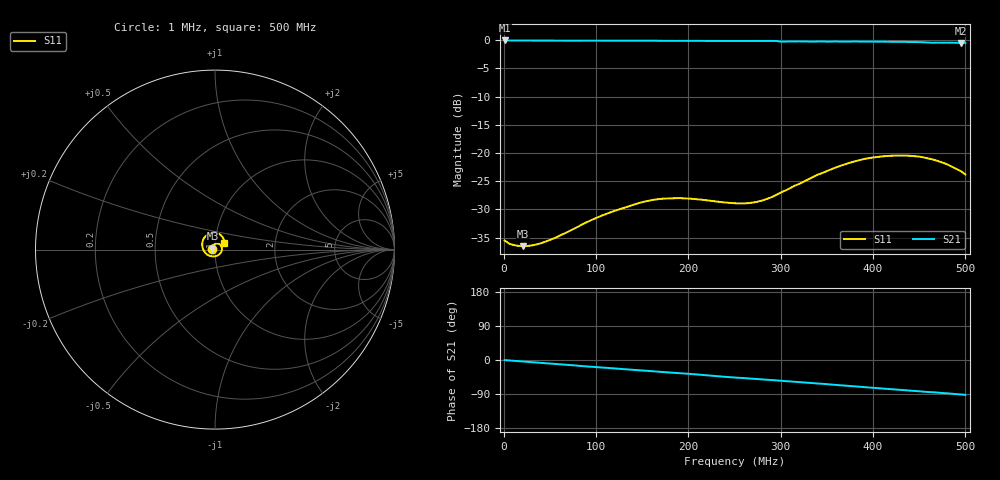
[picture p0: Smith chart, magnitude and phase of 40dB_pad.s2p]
# HZ S RI R 50
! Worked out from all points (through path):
!   101 points, 1 MHz to 500 MHz, reference 50 ohm
!   highest |S21| = -0.08 dB at 1 MHz (marker M1); lowest = -0.5 dB at 495 MHz (marker M2)
!   group delay of S21, straight-line fit = 508 ps
!   lowest |S11| = -36.5 dB at 20.96 MHz (marker M3), VSWR 1.03, Z = 48.6 + j0.522 ohm
!   |S11| at or under -10 dB: start of sweep to end of sweep
!   S12 and S22 are empty: the file has one direction only
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1000000  -0.0168 0.00086  0.9908 -0.00352  0 0  0 0
5990000  -0.0156 0.00251  0.9902 -0.0199  0 0  0 0
2.096e7  -0.014 0.00536  0.9873 -0.0684  0 0  0 0
3.094e7  -0.0135 0.00703  0.984 -0.1003  0 0  0 0
4.591e7  -0.0132 0.00992  0.9776 -0.1482  0 0  0 0
8.583e7  -0.0102 0.0212  0.9482 -0.2756  0 0  0 0
1.2575e8  0.00267 0.0317  0.9054 -0.3904  0 0  0 0
1.507e8  0.0164 0.033  0.8725 -0.46  0 0  0 0
1.7066e8  0.0271 0.0285  0.8398 -0.5126  0 0  0 0
2.006e8  0.0378 0.0114  0.7893 -0.5853  0 0  0 0
2.505e8  0.0246 -0.0262  0.677 -0.7094  0 0  0 0
2.6547e8  0.0117 -0.0341  0.6476 -0.7361  0 0  0 0
2.8044e8  -0.00418 -0.0378  0.6139 -0.7651  0 0  0 0
3.3533e8  -0.061 -0.00927  0.4685 -0.8478  0 0  0 0
3.8024e8  -0.0675 0.0505  0.3392 -0.909  0 0  0 0
4.002e8  -0.0526 0.0747  0.2764 -0.9277  0 0  0 0
4.2016e8  -0.0293 0.0899  0.2158 -0.9397  0 0  0 0
4.4012e8  -0.00211 0.0944  0.153 -0.9473  0 0  0 0
4.6008e8  0.0247 0.0859  0.091 -0.9457  0 0  0 0
4.8004e8  0.0448 0.0657  0.0352 -0.9472  0 0  0 0
4.9501e8  0.0525 0.0449  -0.0148 -0.9431  0 0  0 0
5e8  0.0527 0.0374  -0.0324 -0.9427  0 0  0 0
